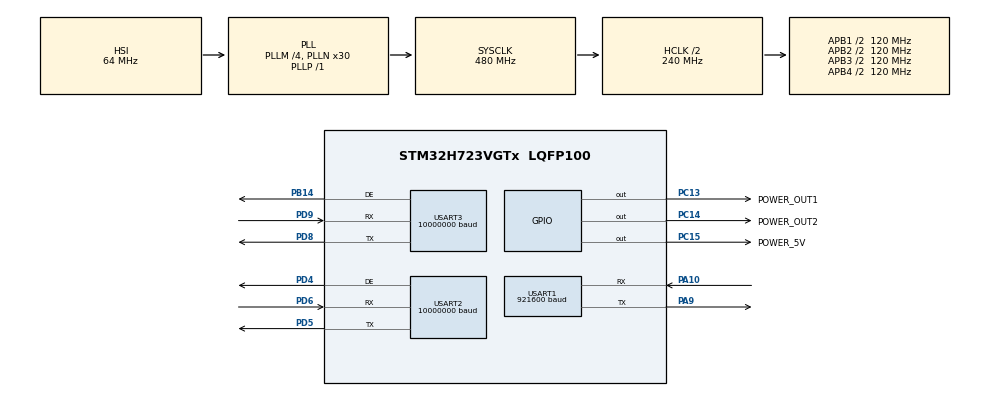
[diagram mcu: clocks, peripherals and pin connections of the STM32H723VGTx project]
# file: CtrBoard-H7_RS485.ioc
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Dma.Request0=USART2_RX
Dma.USART2_RX.0.Direction=DMA_PERIPH_TO_MEMORY
Dma.USART2_RX.0.EventEnable=DISABLE
Dma.USART2_RX.0.FIFOMode=DMA_FIFOMODE_DISABLE
Dma.USART2_RX.0.Instance=DMA1_Stream0
Dma.USART2_RX.0.MemDataAlignment=DMA_MDATAALIGN_BYTE
Dma.USART2_RX.0.MemInc=DMA_MINC_ENABLE
Dma.USART2_RX.0.Mode=DMA_CIRCULAR
Dma.USART2_RX.0.PeriphDataAlignment=DMA_PDATAALIGN_BYTE
Dma.USART2_RX.0.PeriphInc=DMA_PINC_DISABLE
Dma.USART2_RX.0.Polarity=HAL_DMAMUX_REQ_GEN_RISING
Dma.USART2_RX.0.Priority=DMA_PRIORITY_VERY_HIGH
Dma.USART2_RX.0.RequestNumber=1
Dma.USART2_RX.0.SignalID=NONE
Dma.USART2_RX.0.SyncEnable=DISABLE
Dma.USART2_RX.0.SyncPolarity=HAL_DMAMUX_SYNC_NO_EVENT
Dma.USART2_RX.0.SyncRequestNumber=1
Dma.USART2_RX.0.SyncSignalID=NONE
Mcu.Family=STM32H7
Mcu.Name=STM32H723VGTx
Mcu.Package=LQFP100
NVIC.DMA1_Stream0_IRQn=true\:0\:0\:false\:false\:true\:false\:true\:true
NVIC.PriorityGroup=NVIC_PRIORITYGROUP_4
NVIC.USART1_IRQn=true\:0\:0\:false\:false\:true\:true\:true\:true
NVIC.USART2_IRQn=true\:1\:0\:true\:false\:true\:true\:true\:true
NVIC.USART3_IRQn=true\:2\:0\:true\:false\:true\:true\:true\:true
PA10.Mode=Asynchronous
PA10.Signal=USART1_RX
PA13(JTMS/SWDIO).Mode=Serial_Wire
PA13(JTMS/SWDIO).Signal=DEBUG_JTMS-SWDIO
PA14(JTCK/SWCLK).Mode=Serial_Wire
PA14(JTCK/SWCLK).Signal=DEBUG_JTCK-SWCLK
PA9.Mode=Asynchronous
PA9.Signal=USART1_TX
PB14.Mode=Hardware Flow Control (RS485)
PB14.Signal=USART3_DE
PC13.GPIO_Label=POWER_OUT1
PC13.PinState=GPIO_PIN_SET
PC13.Signal=GPIO_Output
PC14-OSC32_IN.GPIO_Label=POWER_OUT2
PC14-OSC32_IN.PinState=GPIO_PIN_SET
PC14-OSC32_IN.Signal=GPIO_Output
PC15-OSC32_OUT.GPIO_Label=POWER_5V
PC15-OSC32_OUT.PinState=GPIO_PIN_SET
PC15-OSC32_OUT.Signal=GPIO_Output
PD4.Mode=Hardware Flow Control (RS485)
PD4.Signal=USART2_DE
PD5.Mode=Asynchronous
PD5.Signal=USART2_TX
PD6.Mode=Asynchronous
PD6.Signal=USART2_RX
PD8.Mode=Asynchronous
PD8.Signal=USART3_TX
PD9.Mode=Asynchronous
PD9.Signal=USART3_RX
PH0-OSC_IN.Mode=HSE-External-Oscillator
PH0-OSC_IN.Signal=RCC_OSC_IN
PH1-OSC_OUT.Mode=HSE-External-Oscillator
PH1-OSC_OUT.Signal=RCC_OSC_OUT
ProjectManager.HeapSize=0x200
ProjectManager.StackSize=0x800
ProjectManager.TargetToolchain=MDK-ARM V5.27
RCC.ADCFreq_Value=129000000
RCC.APB1Freq_Value=120000000
RCC.APB2Freq_Value=120000000
RCC.APB3Freq_Value=120000000
RCC.APB4Freq_Value=120000000
RCC.CortexFreq_Value=480000000
RCC.D1PPRE=RCC_APB3_DIV2
RCC.D2PPRE1=RCC_APB1_DIV2
RCC.D2PPRE2=RCC_APB2_DIV2
RCC.D3PPRE=RCC_APB4_DIV2
RCC.DIVM1=4
RCC.DIVN1=30
RCC.DIVP1=1
RCC.HCLKFreq_Value=240000000
RCC.HPRE=RCC_HCLK_DIV2
RCC.HSE_VALUE=24000000
RCC.PLL2FRACN=0
RCC.PLL3FRACN=0
RCC.PLLFRACN=0
RCC.SYSCLKFreq_VALUE=480000000
RCC.SYSCLKSource=RCC_SYSCLKSOURCE_PLLCLK
RCC.USBFreq_Value=240000000
USART1.BaudRate=921600
USART1.VirtualMode-Asynchronous=VM_ASYNC
USART2.BaudRate=10000000
USART2.OverSampling=UART_OVERSAMPLING_8
USART2.VirtualMode-Asynchronous=VM_ASYNC
USART2.VirtualMode-Hardware\ Flow\ Control\ (RS485)=VM_ASYNC
USART3.BaudRate=10000000
USART3.OverSampling=UART_OVERSAMPLING_8
USART3.VirtualMode-Asynchronous=VM_ASYNC
USART3.VirtualMode-Hardware\ Flow\ Control\ (RS485)=VM_ASYNC
board=custom

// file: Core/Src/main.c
/* USER CODE BEGIN Header */
/**
  ******************************************************************************
  * @file           : main.c
  * @brief          : Main program body
  ******************************************************************************
  * @attention
  *
  * Copyright (c) 2024 STMicroelectronics.
  * All rights reserved.
  *
  * This software is licensed under terms that can be found in the LICENSE file
  * in the root directory of this software component.
  * If no LICENSE file comes with this software, it is provided AS-IS.
  *
  ******************************************************************************
  */
/* USER CODE END Header */
#include "main.h"
#include "dma.h"
#include "usart.h"
#include "gpio.h"
#include "imu.h"

/* USER CODE BEGIN Includes */
#include <string.h>
/* USER CODE END Includes */

/* USER CODE BEGIN PTD */
#define USE_DMA 0
/* USER CODE END PTD */

/* USER CODE BEGIN PD */
#define U1_RX_LEN   5
#define U2_RX_LEN   80
#define U3_RX_LEN   6
/* USER CODE END PD */

/* USER CODE BEGIN PV */
uint8_t u1Rx[U1_RX_LEN];
uint8_t u2Rx[U2_RX_LEN];
uint8_t u3Rx[U3_RX_LEN];
uint8_t u1RxFlag = 0;
uint8_t u2RxFlag = 0;
uint8_t u3RxFlag = 0;
/* USER CODE END PV */

void SystemClock_Config(void);

/* USER CODE BEGIN 0 */

void HAL_UART_RxCpltCallback(UART_HandleTypeDef *huart)
{
    if (huart == &huart1)
    {
        if (memcmp(u1Rx, "test\n", U1_RX_LEN) == 0)
        {
            u1RxFlag = 1;
        }
        HAL_UART_Receive_IT(&huart1, u1Rx, U1_RX_LEN);
    }
    if (huart == &huart2)
    {
			#if !USE_DMA
        imu_data_unpack(u2Rx);
				HAL_UART_Receive_IT(&huart2, u2Rx, U2_RX_LEN);
			#endif
    }
    else if (huart == &huart3)
    {
        if (memcmp(u3Rx, "U2TOU3", U3_RX_LEN) == 0)
        {
            u3RxFlag = 1;
        }
        HAL_UART_Receive_IT(&huart3, u3Rx, U3_RX_LEN);
    }
}
/* USER CODE END 0 */

int main(void)
{

  /* MCU Configuration--------------------------------------------------------*/

  /* Reset of all peripherals, Initializes the Flash interface and the Systick. */
  HAL_Init();

  /* Configure the system clock */
  SystemClock_Config();

  /* Initialize all configured peripherals */
  MX_GPIO_Init();
  MX_DMA_Init();
  MX_USART2_UART_Init();
  MX_USART3_UART_Init();
  MX_USART1_UART_Init();
  /* USER CODE BEGIN 2 */

	#if !USE_DMA
	HAL_UART_Receive_IT(&huart2, u2Rx, U2_RX_LEN);
	#else
	HAL_UART_Receive_DMA(&huart2,u2Rx,U2_RX_LEN);
	#endif
//    HAL_UART_Receive_IT(&huart1, u1Rx, U1_RX_LEN);
//    HAL_UART_Receive_IT(&huart2, u2Rx, U2_RX_LEN);
//    HAL_UART_Receive_IT(&huart3, u3Rx, U3_RX_LEN);
  /* USER CODE END 2 */

  /* Infinite loop */
  /* USER CODE BEGIN WHILE */
  while (1)
  {
    /* USER CODE BEGIN 3 */

		#if USE_DMA
		imu_data_unpack(u2Rx);
		HAL_Delay(1);
		#endif

    /* USER CODE END 3 */
  }
    /* USER CODE END WHILE */

}

void SystemClock_Config(void)
{
  RCC_OscInitTypeDef RCC_OscInitStruct = {0};
  RCC_ClkInitTypeDef RCC_ClkInitStruct = {0};

  /** Supply configuration update enable
  */
  HAL_PWREx_ConfigSupply(PWR_LDO_SUPPLY);

  /** Configure the main internal regulator output voltage
  */
  __HAL_PWR_VOLTAGESCALING_CONFIG(PWR_REGULATOR_VOLTAGE_SCALE0);

  while(!__HAL_PWR_GET_FLAG(PWR_FLAG_VOSRDY)) {}

  /** Initializes the RCC Oscillators according to the specified parameters
  * in the RCC_OscInitTypeDef structure.
  */
  RCC_OscInitStruct.OscillatorType = RCC_OSCILLATORTYPE_HSI;
  RCC_OscInitStruct.HSIState = RCC_HSI_DIV1;
  RCC_OscInitStruct.HSICalibrationValue = 64;
  RCC_OscInitStruct.PLL.PLLState = RCC_PLL_ON;
  RCC_OscInitStruct.PLL.PLLSource = RCC_PLLSOURCE_HSI;
  RCC_OscInitStruct.PLL.PLLM = 4;
  RCC_OscInitStruct.PLL.PLLN = 30;
  RCC_OscInitStruct.PLL.PLLP = 1;
  RCC_OscInitStruct.PLL.PLLQ = 2;
  RCC_OscInitStruct.PLL.PLLR = 2;
  RCC_OscInitStruct.PLL.PLLRGE = RCC_PLL1VCIRANGE_3;
  RCC_OscInitStruct.PLL.PLLVCOSEL = RCC_PLL1VCOWIDE;
  RCC_OscInitStruct.PLL.PLLFRACN = 0;
  if (HAL_RCC_OscConfig(&RCC_OscInitStruct) != HAL_OK)
  {
    Error_Handler();
  }

  /** Initializes the CPU, AHB and APB buses clocks
  */
  RCC_ClkInitStruct.ClockType = RCC_CLOCKTYPE_HCLK|RCC_CLOCKTYPE_SYSCLK
                              |RCC_CLOCKTYPE_PCLK1|RCC_CLOCKTYPE_PCLK2
                              |RCC_CLOCKTYPE_D3PCLK1|RCC_CLOCKTYPE_D1PCLK1;
  RCC_ClkInitStruct.SYSCLKSource = RCC_SYSCLKSOURCE_PLLCLK;
  RCC_ClkInitStruct.SYSCLKDivider = RCC_SYSCLK_DIV1;
  RCC_ClkInitStruct.AHBCLKDivider = RCC_HCLK_DIV2;
  RCC_ClkInitStruct.APB3CLKDivider = RCC_APB3_DIV2;
  RCC_ClkInitStruct.APB1CLKDivider = RCC_APB1_DIV2;
  RCC_ClkInitStruct.APB2CLKDivider = RCC_APB2_DIV2;
  RCC_ClkInitStruct.APB4CLKDivider = RCC_APB4_DIV2;

  if (HAL_RCC_ClockConfig(&RCC_ClkInitStruct, FLASH_LATENCY_3) != HAL_OK)
  {
    Error_Handler();
  }
}

void Error_Handler(void)
{
  __disable_irq();
  while (1)
  {
  }
}
